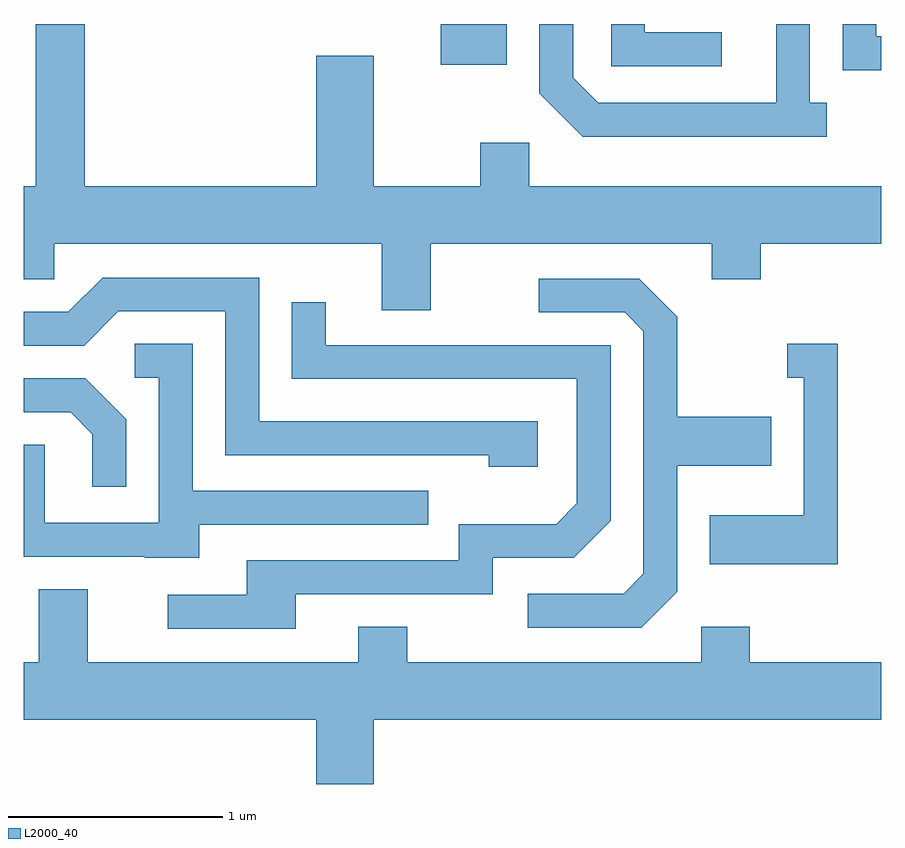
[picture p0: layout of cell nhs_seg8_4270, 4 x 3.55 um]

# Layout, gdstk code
import gdstk
lib = gdstk.Library(unit=1e-6, precision=1e-09)
def R(c, l, rs):  # rectangles x0, y0, x1, y1
    for r in rs: c.add(gdstk.rectangle(r[:2], r[2:], *l))
def P(c, l, *ps):  # polygons
    for p in ps: c.add(gdstk.Polygon(p, *l))
L2000_40 = (2000, 40)

nhs_seg8_4270 = lib.new_cell('nhs_seg8_4270')
R(nhs_seg8_4270, L2000_40, [(315.556,1826.151,315.864,1826.342)])
P(nhs_seg8_4270, L2000_40, [(314.976,1826.194),(314.976,1825.584),(313.894,1825.584),(313.894,1826.342),(313.666,1826.342),(313.666,1825.584),(313.611,1825.584),(313.611,1825.151),(313.754,1825.151),(313.754,1825.316),(315.281,1825.316),(315.281,1825.006),(315.509,1825.006),(315.509,1825.316),(316.821,1825.316),(316.821,1825.151),(317.049,1825.151),(317.049,1825.316),(317.611,1825.316),(317.611,1825.584),(315.969,1825.584),(315.969,1825.789),(315.741,1825.789),(315.741,1825.584),(315.244,1825.584),(315.244,1826.194)],
  [(317.611,1826.284),(317.589,1826.284),(317.589,1826.342),(317.431,1826.342),(317.431,1826.126),(317.611,1826.126)],
  [(316.868,1826.304),(316.509,1826.304),(316.509,1826.342),(316.351,1826.342),(316.351,1826.146),(316.868,1826.146)],
  [(317.358,1825.974),(317.279,1825.974),(317.279,1826.342),(317.121,1826.342),(317.121,1825.974),(316.292,1825.974),(316.174,1826.092),(316.174,1826.342),(316.016,1826.342),(316.016,1826.019),(316.219,1825.816),(317.358,1825.816)],
  [(316.009,1824.489),(314.709,1824.489),(314.709,1825.159),(313.979,1825.159),(313.819,1824.999),(313.611,1824.999),(313.611,1824.841),(313.892,1824.841),(314.052,1825.001),(314.551,1825.001),(314.551,1824.331),(315.781,1824.331),(315.781,1824.276),(316.009,1824.276)],
  [(316.659,1823.694),(316.659,1824.281),(317.099,1824.281),(317.099,1824.509),(316.659,1824.509),(316.659,1824.977),(316.482,1825.154),(316.013,1825.154),(316.013,1824.996),(316.414,1824.996),(316.501,1824.909),(316.501,1823.777),(316.409,1823.684),(315.963,1823.684),(315.963,1823.526),(316.492,1823.526)],
  [(314.879,1823.681),(315.799,1823.681),(315.799,1823.851),(316.177,1823.851),(316.349,1824.024),(316.349,1824.844),(315.019,1824.844),(315.019,1825.043),(314.861,1825.043),(314.861,1824.686),(316.191,1824.686),(316.191,1824.107),(316.094,1824.009),(315.641,1824.009),(315.641,1823.839),(314.651,1823.839),(314.651,1823.679),(314.283,1823.679),(314.283,1823.521),(314.879,1823.521)],
  [(314.429,1824.006),(315.498,1824.006),(315.498,1824.164),(314.399,1824.164),(314.399,1824.849),(314.128,1824.849),(314.128,1824.691),(314.241,1824.691),(314.241,1824.014),(313.709,1824.014),(313.709,1824.379),(313.611,1824.379),(313.611,1823.856),(314.175,1823.856),(314.175,1823.851),(314.429,1823.851)],
  [(317.409,1824.849),(317.173,1824.849),(317.173,1824.691),(317.251,1824.691),(317.251,1824.049),(316.811,1824.049),(316.811,1823.821),(317.409,1823.821)],
  [(314.089,1824.497),(313.897,1824.689),(313.611,1824.689),(313.611,1824.531),(313.829,1824.531),(313.931,1824.429),(313.931,1824.183),(314.089,1824.183)],
  [(315.244,1823.096),(317.611,1823.096),(317.611,1823.364),(316.999,1823.364),(316.999,1823.529),(316.771,1823.529),(316.771,1823.364),(315.399,1823.364),(315.399,1823.529),(315.171,1823.529),(315.171,1823.364),(313.909,1823.364),(313.909,1823.704),(313.681,1823.704),(313.681,1823.364),(313.611,1823.364),(313.611,1823.096),(314.976,1823.096),(314.976,1822.796),(315.244,1822.796)])

lib.write_gds('nhs_seg8_4270.gds')
